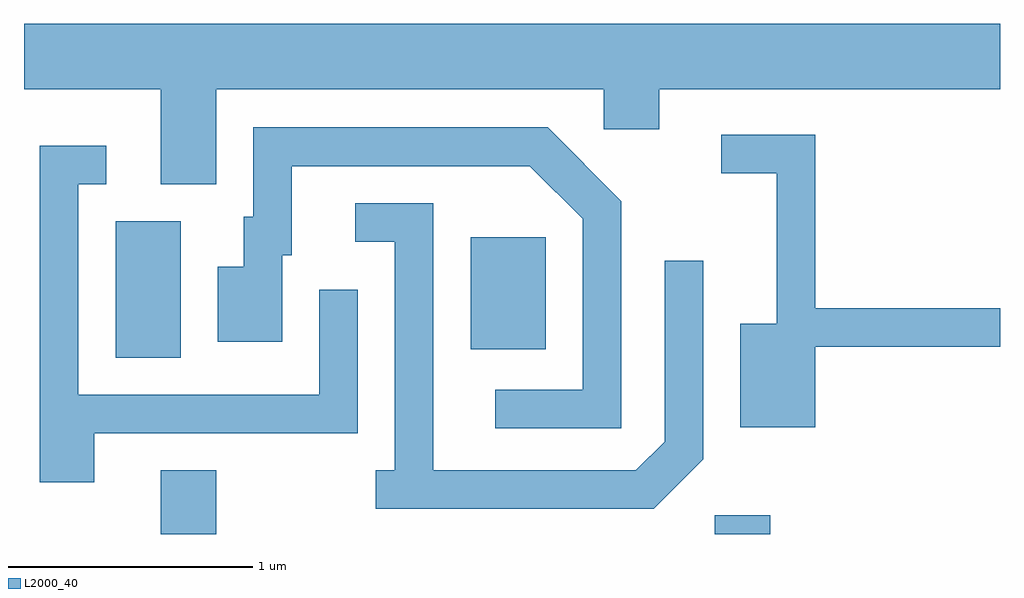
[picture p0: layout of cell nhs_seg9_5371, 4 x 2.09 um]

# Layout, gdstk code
import gdstk
lib = gdstk.Library(unit=1e-6, precision=1e-09)
def R(c, l, rs):  # rectangles x0, y0, x1, y1
    for r in rs: c.add(gdstk.rectangle(r[:2], r[2:], *l))
def P(c, l, *ps):  # polygons
    for p in ps: c.add(gdstk.Polygon(p, *l))
L2000_40 = (2000, 40)

nhs_seg9_5371 = lib.new_cell('nhs_seg9_5371')
R(nhs_seg9_5371, L2000_40, [(344.171,1994.432,344.399,1994.694), (346.441,1994.432,346.669,1994.509), (343.986,1995.156,344.254,1995.714), (345.441,1995.191,345.749,1995.649)])
P(nhs_seg9_5371, L2000_40, [(344.399,1996.256),(345.986,1996.256),(345.986,1996.091),(346.214,1996.091),(346.214,1996.256),(347.611,1996.256),(347.611,1996.524),(343.611,1996.524),(343.611,1996.256),(344.171,1996.256),(344.171,1995.866),(344.399,1995.866)],
  [(346.059,1995.797),(345.757,1996.099),(344.551,1996.099),(344.551,1995.734),(344.511,1995.734),(344.511,1995.529),(344.406,1995.529),(344.406,1995.221),(344.669,1995.221),(344.669,1995.576),(344.709,1995.576),(344.709,1995.941),(345.684,1995.941),(345.901,1995.724),(345.901,1995.024),(345.543,1995.024),(345.543,1994.866),(346.059,1994.866)],
  [(346.854,1995.201),(347.611,1995.201),(347.611,1995.359),(346.854,1995.359),(346.854,1996.069),(346.468,1996.069),(346.468,1995.911),(346.696,1995.911),(346.696,1995.294),(346.546,1995.294),(346.546,1994.871),(346.854,1994.871)],
  [(343.899,1994.846),(344.979,1994.846),(344.979,1995.433),(344.821,1995.433),(344.821,1995.004),(343.834,1995.004),(343.834,1995.866),(343.948,1995.866),(343.948,1996.024),(343.676,1996.024),(343.676,1994.646),(343.899,1994.646)],
  [(346.394,1994.739),(346.394,1995.553),(346.236,1995.553),(346.236,1994.812),(346.119,1994.694),(345.289,1994.694),(345.289,1995.789),(344.968,1995.789),(344.968,1995.631),(345.131,1995.631),(345.131,1994.694),(345.053,1994.694),(345.053,1994.536),(346.192,1994.536)])

lib.write_gds('nhs_seg9_5371.gds')
